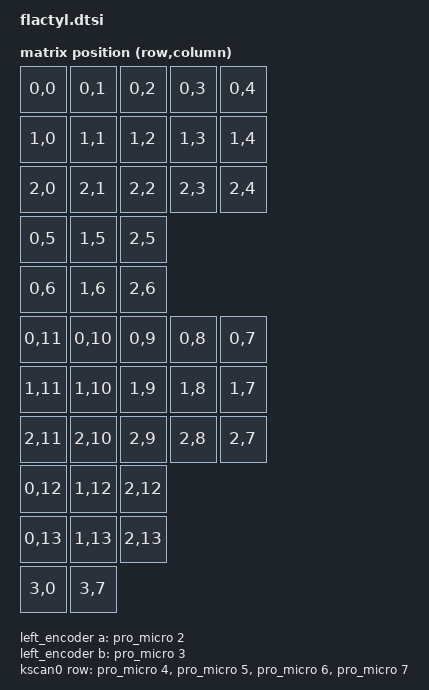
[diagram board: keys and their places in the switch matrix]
/*
 * Copyright (c) 2020 Pete Johanson
 *
 * SPDX-License-Identifier: MIT
 */

#include <dt-bindings/zmk/matrix_transform.h>

/ {
	chosen {
		zephyr,display = &oled;
		zmk,kscan = &kscan0;
		zmk,matrix_transform = &default_transform;
	};
	
	sensors {
        compatible = "zmk,keymap-sensors";
        sensors = <&left_encoder>;
    };

	left_encoder: encoder_left {
        compatible = "alps,ec11";
        label = "LEFT_ENCODER";
        a-gpios = <&pro_micro 2 (GPIO_ACTIVE_HIGH | GPIO_PULL_UP)>;
        b-gpios = <&pro_micro 3 (GPIO_ACTIVE_HIGH | GPIO_PULL_UP)>;
        resolution = <2>;
        status = "disabled";
    };
	

	default_transform: keymap_transform_0 {
		compatible = "zmk,matrix-transform";
		columns = <14>;
		rows = <3>;
// LEFT
// | C0R0 | C1R0 | C2R0 | C3R0 | C4R0 |
// | C0R1 | C1R1 | C2R1 | C3R1 | C4R1 |
// | COR2 | C1R2 | C2R2 | C3R2 | C4R2 |

// LEFT THUMB
// | C5R0 | C5R1 | C5R2 |
// | C6R0 | C6R1 | C6R2 |

// RIGHT
// | C4R0 | C3R0 | C2R0 | C1R0 | C0R0 |
// | C4R1 | C3R1 | C2R1 | C1R1 | C0R1 |
// | C4R2 | C3R2 | C2R2 | C1R2 | C0R2 |

// RIGHT THUMB
// | C5R0 | C5R1 | C5R2 |
// | C6R0 | C6R1 | C6R2 |

// |ROTARY ENCODER PRESS LEFT| ROTARY ENCODER PRESS RIGHT|

		map = <
	RC(0,0) RC(0,1) RC(0,2) RC(0,3) RC(0,4)		
	RC(1,0) RC(1,1) RC(1,2) RC(1,3) RC(1,4)		
	RC(2,0) RC(2,1) RC(2,2) RC(2,3) RC(2,4)		

    RC(0,5) RC(1,5) RC(2,5) 	
    RC(0,6) RC(1,6) RC(2,6)

	RC(0,11) RC(0,10) RC(0,9) RC(0,8) RC(0,7)  
	RC(1,11) RC(1,10) RC(1,9) RC(1,8) RC(1,7)    
	RC(2,11) RC(2,10) RC(2,9) RC(2,8) RC(2,7)   

	RC(0,12) RC(1,12) RC(2,12)
	RC(0,13) RC(1,13) RC(2,13)
	RC(3,0) RC(3,7) 
		>;
	};
	kscan0: kscan {
		compatible = "zmk,kscan-gpio-matrix";
		label = "KSCAN";

		diode-direction = "col2row";
		row-gpios
			= <&pro_micro 4 (GPIO_ACTIVE_HIGH | GPIO_PULL_DOWN)>
			, <&pro_micro 5 (GPIO_ACTIVE_HIGH | GPIO_PULL_DOWN)>
			, <&pro_micro 6 (GPIO_ACTIVE_HIGH | GPIO_PULL_DOWN)>
			, <&pro_micro 7 (GPIO_ACTIVE_HIGH | GPIO_PULL_DOWN)>
			;
		
	};

	// TODO: per-key RGB node(s)?
};

&pro_micro_i2c {
	status = "okay";

	oled: ssd1306@3c {
		compatible = "solomon,ssd1306fb";
		reg = <0x3c>;
		label = "DISPLAY";
		width = <128>;
		height = <32>;
		segment-offset = <0>;
		page-offset = <0>;
		display-offset = <0>;
		multiplex-ratio = <31>;
		segment-remap;
		com-invdir;
		com-sequential;
		prechargep = <0x22>;
	};
};
